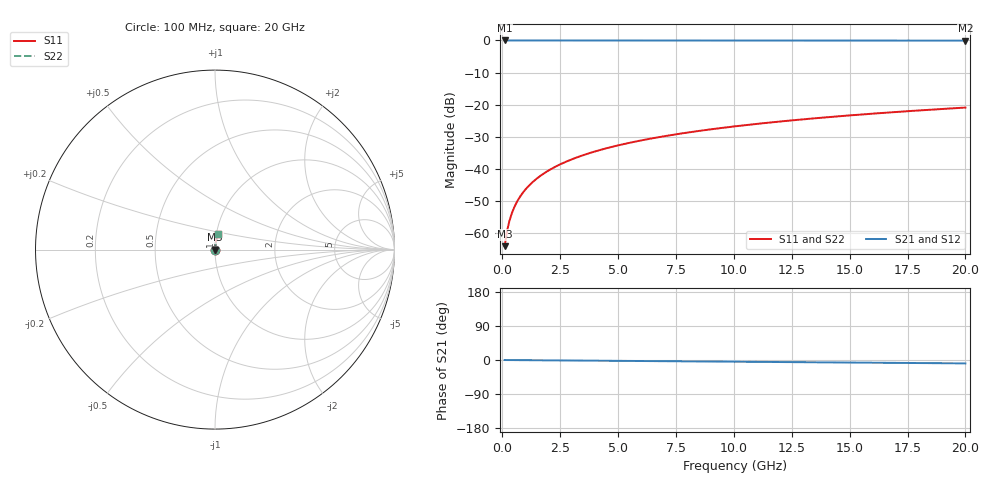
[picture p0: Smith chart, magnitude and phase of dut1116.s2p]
! Touchstone file exported from HFSS 2026.1.0
!  File:  C:/ffzhzh/LocalFiles/Ansys_Project_Files/temp_train_TSV_1116_1783190858_55132.aedt
!  Generated:  02:49:41 AM Jul  5, 2026
!  Design:  TSV
!  Project:  temp_train_TSV_1116_1783190858_55132
! Variables:
!  h_bsmrdl = 2um
!  h_ox = 20um
!  h_rdl = 5um
!  h_sub = 66.62um
!  h_tmrdl = 5um
!  h_tsv = 66.62um
!  h_via = 3um
!  l_bsmrdl = 300um
!  l_sub = 409.22um
!  l_tmrdl = 200um
!  m_sub = 200um
!  pitch = 51.02um
!  r_tsv = 4.61um
!  s_tmrdl = 10um
!  w_bsmrdl = 18um
!  w_sub = 500um
!  w_tmrdl = 12um
!  x_tsv_center1 = 206um
!  x_tsv_center2 = 524um
!  x_tsv_center3 = 736um
!  x_tsv_center4 = 1054um
!  x_tsv_center5 = 1266um
!  x_tsv_center6 = 1584um
# GHz S MA R 50.000000
! Terminal data exported
! Port[1] = TSV1_1_T1
! Port[2] = TSV1_1_T2
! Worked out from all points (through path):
!   200 points, 100 MHz to 20 GHz, reference 50 ohm
!   highest |S21| = 0.00 dB at 100 MHz (marker M1); lowest = -0.1 dB at 20 GHz (marker M2)
!   group delay of S21, straight-line fit = 1.24 ps
!   lowest |S11| = -64.1 dB at 100 MHz (marker M3), VSWR 1.00, Z = 50 + j0.0488 ohm
!   |S11| at or under -10 dB: start of sweep to end of sweep
!   |S22| runs from -64.1 to -20.9 dB; largest |S21 - S12| = 4.1e-15
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0.1  0.0006254 51.3  0.9996 -0.0  0.9996 -0.0  0.0006254 51.3
! Gamma 0 0 0 0
! Port Impedance 50 0 50 0
0.2  0.001053 67.6  0.9996 -0.1  0.9996 -0.1  0.001053 67.6
0.3  0.001512 74.1  0.9996 -0.1  0.9996 -0.1  0.001512 74.1
0.4  0.001978 77.4  0.9996 -0.2  0.9996 -0.2  0.001978 77.4
0.5  0.002444 79.5  0.9996 -0.2  0.9996 -0.2  0.002444 79.5
0.7  0.003378 81.8  0.9995 -0.3  0.9995 -0.3  0.003378 81.8
0.8  0.003844 82.6  0.9995 -0.4  0.9995 -0.4  0.003844 82.6
1  0.004777 83.7  0.9995 -0.5  0.9995 -0.5  0.004777 83.7
1.2  0.005711 84.3  0.9995 -0.6  0.9995 -0.6  0.005711 84.3
1.4  0.006644 84.8  0.9994 -0.6  0.9994 -0.6  0.006644 84.8
1.7  0.008043 85.3  0.9994 -0.8  0.9994 -0.8  0.008043 85.3
2  0.00944 85.5  0.9994 -0.9  0.9994 -0.9  0.00944 85.5
2.7  0.01269 85.8  0.9992 -1.2  0.9992 -1.2  0.01269 85.8
3.5  0.01637 85.7  0.9991 -1.6  0.9991 -1.6  0.01637 85.7
4.2  0.01958 85.6  0.999 -1.9  0.999 -1.9  0.01958 85.6
5  0.02323 85.4  0.9988 -2.3  0.9988 -2.3  0.02323 85.4
6.8  0.03137 84.9  0.9984 -3.1  0.9984 -3.1  0.03137 84.9
8.3  0.03812 84.4  0.998 -3.7  0.998 -3.7  0.03812 84.4
10.1  0.04619 83.7  0.9975 -4.5  0.9975 -4.5  0.04619 83.7
13.4  0.06091 82.5  0.9966 -6.0  0.9966 -6.0  0.06091 82.5
16.7  0.07554 81.2  0.9954 -7.5  0.9954 -7.5  0.07554 81.2
20  0.09005 79.8  0.994 -8.9  0.994 -8.9  0.09005 79.8
